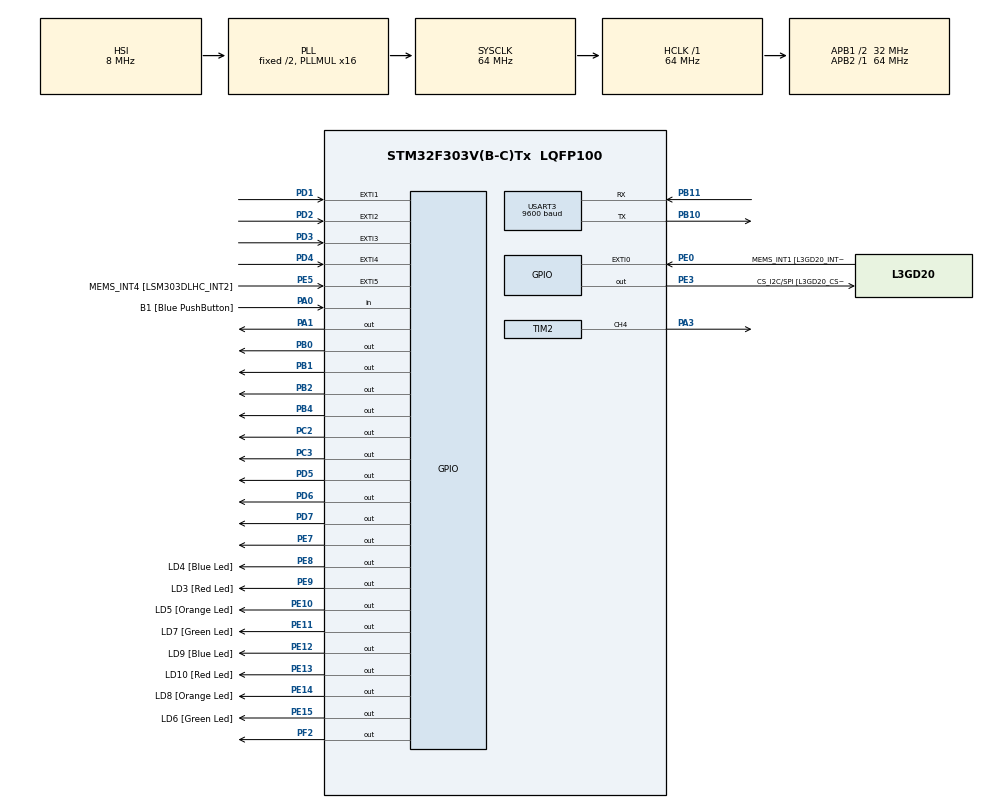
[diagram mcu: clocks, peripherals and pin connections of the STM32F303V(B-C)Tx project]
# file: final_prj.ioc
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Mcu.Family=STM32F3
Mcu.Name=STM32F303V(B-C)Tx
Mcu.Package=LQFP100
NVIC.EXTI1_IRQn=true\:2\:0\:true\:false\:true\:true\:true\:true
NVIC.EXTI2_TSC_IRQn=true\:2\:0\:true\:false\:true\:true\:true\:true
NVIC.EXTI3_IRQn=true\:2\:0\:true\:false\:true\:true\:true\:true
NVIC.EXTI4_IRQn=true\:2\:0\:true\:false\:true\:true\:true\:true
NVIC.PriorityGroup=NVIC_PRIORITYGROUP_2
NVIC.TIM1_BRK_TIM15_IRQn=true\:1\:0\:true\:false\:true\:true\:true\:true
NVIC.TIM1_CC_IRQn=true\:1\:0\:true\:false\:true\:true\:true\:true
NVIC.TIM1_TRG_COM_TIM17_IRQn=true\:1\:0\:true\:false\:true\:true\:true\:true
NVIC.TIM1_UP_TIM16_IRQn=true\:1\:0\:true\:false\:true\:true\:true\:true
NVIC.USART3_IRQn=true\:1\:0\:true\:false\:true\:true\:true\:true
PA0.GPIO_Label=B1 [Blue PushButton]
PA0.GPIO_Mode=GPIO_MODE_INPUT
PA0.GPIO_PuPd=GPIO_NOPULL
PA0.Signal=GPIO_Input
PA1.Signal=GPIO_Output
PA11.GPIO_Label=DM
PA11.Signal=USB_DM
PA12.GPIO_Label=DP
PA12.Signal=USB_DP
PA13.GPIO_Label=SWDIO
PA13.Signal=SYS_JTMS-SWDIO
PA14.GPIO_Label=SWCLK
PA14.Signal=SYS_JTCK-SWCLK
PA3.Signal=S_TIM2_CH4
PA5.GPIO_Label=SPI1_SCK [L3GD20_SCL/SPC]
PA5.GPIO_Mode=GPIO_MODE_AF_PP
PA5.GPIO_PuPd=GPIO_NOPULL
PA5.GPIO_Speed=GPIO_SPEED_FREQ_LOW
PA5.Signal=SPI1_SCK
PA6.GPIO_Label=SPI1_MISO [L3GD20_SA0/SDO]
PA6.GPIO_Mode=GPIO_MODE_AF_PP
PA6.GPIO_PuPd=GPIO_NOPULL
PA6.GPIO_Speed=GPIO_SPEED_FREQ_LOW
PA6.Signal=SPI1_MISO
PA7.GPIO_Label=SPI1_MISO [L3GD20_SDA/SDI/SDO]
PA7.GPIO_Mode=GPIO_MODE_AF_PP
PA7.GPIO_PuPd=GPIO_NOPULL
PA7.GPIO_Speed=GPIO_SPEED_FREQ_LOW
PA7.Signal=SPI1_MOSI
PB0.Signal=GPIO_Output
PB1.Signal=GPIO_Output
PB10.Mode=Asynchronous
PB10.Signal=USART3_TX
PB11.Mode=Asynchronous
PB11.Signal=USART3_RX
PB2.Signal=GPIO_Output
PB3.GPIO_Label=SWO
PB3.Signal=SYS_JTDO-TRACESWO
PB4.Signal=GPIO_Output
PB6.GPIO_FM6=__NULL
PB6.GPIO_Label=I2C1_SCL [LSM303DLHC_SCL]
PB6.GPIO_Mode=GPIO_MODE_AF_OD
PB6.GPIO_PuPd=GPIO_NOPULL
PB6.GPIO_Speed=GPIO_SPEED_FREQ_LOW
PB6.Signal=I2C1_SCL
PB7.GPIO_FM7=__NULL
PB7.GPIO_Label=I2C1_SDA [LSM303DLHC_SDA]
PB7.GPIO_Mode=GPIO_MODE_AF_OD
PB7.GPIO_PuPd=GPIO_NOPULL
PB7.GPIO_Speed=GPIO_SPEED_FREQ_LOW
PB7.Signal=I2C1_SDA
PC14-OSC32_IN.GPIO_Label=OSC32_IN
PC14-OSC32_IN.Signal=RCC_OSC32_IN
PC15-OSC32_OUT.GPIO_Label=OSC32_OUT
PC15-OSC32_OUT.Signal=RCC_OSC32_OUT
PC2.Signal=GPIO_Output
PC3.Signal=GPIO_Output
PD1.GPIO_PuPd=GPIO_PULLDOWN
PD1.Signal=GPXTI1
PD2.GPIO_PuPd=GPIO_PULLDOWN
PD2.Signal=GPXTI2
PD3.GPIO_PuPd=GPIO_PULLDOWN
PD3.Signal=GPXTI3
PD4.GPIO_PuPd=GPIO_PULLDOWN
PD4.Signal=GPXTI4
PD5.Signal=GPIO_Output
PD6.Signal=GPIO_Output
PD7.Signal=GPIO_Output
PE0.GPIO_Label=MEMS_INT1 [L3GD20_INT1]
PE0.GPIO_ModeDefaultEXTI=GPIO_MODE_EVT_RISING
PE0.GPIO_PuPd=GPIO_NOPULL
PE0.Signal=GPXTI0
PE10.GPIO_Label=LD5 [Orange Led]
PE10.GPIO_ModeDefaultOutputPP=GPIO_MODE_OUTPUT_PP
PE10.GPIO_PuPd=GPIO_NOPULL
PE10.GPIO_Speed=GPIO_SPEED_FREQ_LOW
PE10.Signal=GPIO_Output
PE11.GPIO_Label=LD7 [Green Led]
PE11.GPIO_ModeDefaultOutputPP=GPIO_MODE_OUTPUT_PP
PE11.GPIO_PuPd=GPIO_NOPULL
PE11.GPIO_Speed=GPIO_SPEED_FREQ_LOW
PE11.Signal=GPIO_Output
PE12.GPIO_Label=LD9 [Blue Led]
PE12.GPIO_ModeDefaultOutputPP=GPIO_MODE_OUTPUT_PP
PE12.GPIO_PuPd=GPIO_NOPULL
PE12.GPIO_Speed=GPIO_SPEED_FREQ_LOW
PE12.Signal=GPIO_Output
PE13.GPIO_Label=LD10 [Red Led]
PE13.GPIO_ModeDefaultOutputPP=GPIO_MODE_OUTPUT_PP
PE13.GPIO_PuPd=GPIO_NOPULL
PE13.GPIO_Speed=GPIO_SPEED_FREQ_LOW
PE13.Signal=GPIO_Output
PE14.GPIO_Label=LD8 [Orange Led]
PE14.GPIO_ModeDefaultOutputPP=GPIO_MODE_OUTPUT_PP
PE14.GPIO_PuPd=GPIO_NOPULL
PE14.GPIO_Speed=GPIO_SPEED_FREQ_LOW
PE14.Signal=GPIO_Output
PE15.GPIO_Label=LD6 [Green Led]
PE15.GPIO_ModeDefaultOutputPP=GPIO_MODE_OUTPUT_PP
PE15.GPIO_PuPd=GPIO_NOPULL
PE15.GPIO_Speed=GPIO_SPEED_FREQ_LOW
PE15.Signal=GPIO_Output
PE3.GPIO_Label=CS_I2C/SPI [L3GD20_CS_I2C/SPI]
PE3.GPIO_ModeDefaultOutputPP=GPIO_MODE_OUTPUT_PP
PE3.GPIO_PuPd=GPIO_NOPULL
PE3.GPIO_Speed=GPIO_SPEED_FREQ_LOW
PE3.Signal=GPIO_Output
PE5.GPIO_Label=MEMS_INT4 [LSM303DLHC_INT2]
PE5.GPIO_ModeDefaultEXTI=GPIO_MODE_EVT_RISING
PE5.GPIO_PuPd=GPIO_NOPULL
PE5.Signal=GPXTI5
PE7.Signal=GPIO_Output
PE8.GPIO_Label=LD4 [Blue Led]
PE8.GPIO_ModeDefaultOutputPP=GPIO_MODE_OUTPUT_PP
PE8.GPIO_PuPd=GPIO_NOPULL
PE8.GPIO_Speed=GPIO_SPEED_FREQ_LOW
PE8.Signal=GPIO_Output
PE9.GPIO_Label=LD3 [Red Led]
PE9.GPIO_ModeDefaultOutputPP=GPIO_MODE_OUTPUT_PP
PE9.GPIO_PuPd=GPIO_NOPULL
PE9.GPIO_Speed=GPIO_SPEED_FREQ_LOW
PE9.Signal=GPIO_Output
PF0-OSC_IN.GPIO_Label=OSC_IN
PF0-OSC_IN.Signal=RCC_OSC_IN
PF1-OSC_OUT.GPIO_Label=OSC_OUT
PF1-OSC_OUT.Signal=RCC_OSC_OUT
PF2.Signal=GPIO_Output
ProjectManager.HeapSize=0x200
ProjectManager.StackSize=0x400
ProjectManager.TargetToolchain=STM32CubeIDE
RCC.AHBFreq_Value=64000000
RCC.APB1CLKDivider=RCC_HCLK_DIV2
RCC.APB1Freq_Value=32000000
RCC.APB1TimFreq_Value=64000000
RCC.APB2Freq_Value=64000000
RCC.APB2TimFreq_Value=64000000
RCC.CortexFreq_Value=64000000
RCC.HCLKFreq_Value=64000000
RCC.HSE_VALUE=8000000
RCC.HSI_VALUE=8000000
RCC.LSE_VALUE=32768
RCC.PLLMUL=RCC_PLL_MUL16
RCC.SYSCLKFreq_VALUE=64000000
RCC.SYSCLKSourceVirtual=RCC_SYSCLKSOURCE_PLLCLK
RCC.USBFreq_Value=64000000
SH.S_TIM2_CH4.0=TIM2_CH4,PWM Generation4 CH4
TIM1.Period=1000-1
TIM1.Prescaler=64-1
TIM2.Channel-PWM\ Generation4\ CH4=TIM_CHANNEL_4
USART3.BaudRate=9600
USART3.VirtualMode-Asynchronous=VM_ASYNC
VP_RTC_VS_RTC_Activate.Mode=RTC_Enabled
VP_RTC_VS_RTC_Calendar.Mode=RTC_Calendar
VP_TIM1_VS_ClockSourceINT.Mode=Internal
VP_TIM2_VS_ClockSourceINT.Mode=Internal
board=STM32F3DISCOVERY

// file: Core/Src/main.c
/* USER CODE BEGIN Header */
/**
 ******************************************************************************
 * @file           : main.c
 * @brief          : Main program body
 ******************************************************************************
 * @attention
 *
 * Copyright (c) 2024 STMicroelectronics.
 * All rights reserved.
 *
 * This software is licensed under terms that can be found in the LICENSE file
 * in the root directory of this software component.
 * If no LICENSE file comes with this software, it is provided AS-IS.
 *
 ******************************************************************************
 */
/* USER CODE END Header */
#include "main.h"

/* USER CODE BEGIN Includes */
#include "LiquidCrystal.h"
#include "string.h"
#include <stdlib.h>
/* USER CODE END Includes */

/* USER CODE BEGIN PTD */
enum Direction {
	RIGHT, DOWN, LEFT, UP
};

typedef struct {
	int first;
	int second;
} Pair;

typedef struct {
	int health;
	int numBullet;
	int soundEfect;
} DefaultSetting;

typedef unsigned char byte;

typedef struct {
	int col;
	int row;
} CursorLocation;

typedef struct {
	int flag;
	int pageExecuted;
} MenuInfo;

typedef struct {
	char *name;
	int health;
	int numBullet;
	enum Direction direction;
	int col;
	int row;
	int isAlive; //binary
	int score;
} Player;

typedef struct {
	int col;
	int row;
	enum Direction direction;
	int isAlive;
} Bullet;

/* USER CODE END PTD */

/* USER CODE BEGIN PD */
#define WALL_1_COL 1
#define WALL_1_ROW 1
#define WALL_2_COL 18
#define WALL_2_ROW 2
/* USER CODE END PD */

RTC_HandleTypeDef hrtc;

TIM_HandleTypeDef htim1;
TIM_HandleTypeDef htim2;

UART_HandleTypeDef huart3;

/* USER CODE BEGIN PV */
//const byte pointerChar[] = { 0x00, 0x00, 0x06, 0x06, 0x00, 0x00, 0x00, 0x00 };
const byte tankRightChar[] = { 0x18, 0x18, 0x18, 0x1F, 0x1F, 0x18, 0x18, 0x18 };
const byte tankLeftChar[] = { 0x03, 0x03, 0x03, 0x1F, 0x1F, 0x03, 0x03, 0x03 };
const byte tankDownChar[] = { 0x1F, 0x1F, 0x1F, 0x1F, 0x0E, 0x0E, 0x0E, 0x0E };
const byte tankUpChar[] = { 0x0E, 0x0E, 0x0E, 0x0E, 0x1F, 0x1F, 0x1F, 0x1F };

const byte wallChar[] = { 0x1F, 0x1F, 0x1F, 0x1F, 0x1F, 0x1F, 0x1F, 0x1F };
// amirali
const byte healthChar[] = { 0x00, 0x1B, 0x1B, 0x1F, 0x0E, 0x04, 0x00, 0x00 };
const byte barrierChar[] = { 0x1F, 0x0E, 0x0E, 0x0E, 0x0E, 0x0E, 0x0E, 0x1F };
const byte bulletChar[] = { 0x08, 0x1C, 0x08, 0x01, 0x03, 0x06, 0x0C, 0x18 };
const byte questionmarkChar[] =
		{ 0x1F, 0x11, 0x15, 0x1D, 0x1B, 0x1B, 0x1F, 0x1B };

// amirali

DefaultSetting dfSetting = { 3, 5, 0 };

MenuInfo menuOption[] = { { 0, 0 }, { 0, 0 }, { 0, 0 } };

Player player[2];

char teamMembers[2][10] = { "Alireza", "Ali" };

int initPageFlag = 0, menuFlag = 0, gameStartFlag = 0, settingFlag = 0,
		aboutUsFlag = 0, clearLcdFlag = 0;

int initPageExecuted = 0, menuPageExecuted = 0, settingPageExecuted = 0,
		aboutPageExecuted = 0, gameStartPageExecuted = 0;

int dfsettingFlags = 0; /* range [1,2,3] 1: dfHealth 2:dfNumBullet 3:dfSoundEffect*/

int menuPointerLocation = 0, settingPointerLocation = 0;

RTC_TimeTypeDef mytime;
RTC_DateTypeDef mydate;

int num_shooted_bullet = 0;
Bullet bullets[100];

int array[20][4] = { 0 };
int prevarray[20][4] = { 0 };
int shootarray[20][4] = { 0 };
int shootflag = 0;
//0:empty  1:tankRight 2:downTank 3:lefrTank 4: RightRank 5:bullet  6:health  7:barrier  8:wall
//9:questionMark 10:shootedBullet

// Input pull down rising edge trigger interrupt pins:
// Row1 PD1, Row2 PD2, Row3 PD3, Row4 PD4
GPIO_TypeDef *const Row_ports[] = { GPIOD, GPIOD, GPIOD, GPIOD };
const uint16_t Row_pins[] = { GPIO_PIN_1, GPIO_PIN_2, GPIO_PIN_3, GPIO_PIN_4 };
// Output pins: Column1 PD5, Column2 PD6, Column3 PD7, Column4 PB4
GPIO_TypeDef *const Column_ports[] = { GPIOD, GPIOD, GPIOD, GPIOB };
const uint16_t Column_pins[] =
		{ GPIO_PIN_5, GPIO_PIN_6, GPIO_PIN_7, GPIO_PIN_4 };
volatile uint32_t last_gpio_exti;

/* USER CODE END PV */

void SystemClock_Config(void);
static void MX_GPIO_Init(void);
static void MX_TIM1_Init(void);
static void MX_RTC_Init(void);
static void MX_TIM2_Init(void);
static void MX_USART3_UART_Init(void);
/* USER CODE BEGIN PFP */
void begin_page();
void play_song();
void aboutUs_page();
void setting_page();
void menuDisplay();
void setRtcTime();
void customCharsCreate();
void setSettingValues(int val);
void changePointer(int *ptrLoc, int *pageExecuted, char *dir);

void initPlayers();
void initGamePage();
void rotateDirection90(Player *player);
int isDuplicate(Pair arr[], int index, int first, int second, int duringGame);
void generatePairs(Pair arr[], int n, int duringGame);
void generateQM();
void move(Player *player);
int checkMovePossible(int col, int row);
void checkItemExist(Player *player);
void delElement(int num, int *arr, int index);
void copyArray();
void refresh();
void emptyArray();

void shoot(Player *player);
void moveBullets();

int hasBullet(Player *player);

void increaseBullet(Player *player);
void decreaseBullet(Player *player);
void increaseHealth(Player *player);
void decreaseHealth(Player *player);

void finaltime();
/* USER CODE END PFP */

/* USER CODE BEGIN 0 */
uint8_t rx_byte;
int idx = 0;
uint8_t inArray[9];
uint8_t inputHours[3];
uint8_t inputMin[3];
uint8_t inputSec[3];
int hour, minute, second;

uint8_t inputYear[3];
uint8_t inputMonth[3];
uint8_t inputDay[3];
int year, month, day;

int timeFlag = 0;

int uarttime = 1;
int uartdate = 0;

void setScore(int score) {
	char buffer[50];
	sprintf(buffer, "\nScore: %d", score);
	HAL_UART_Transmit(&huart3, (uint8_t*) buffer, strlen(buffer),
			HAL_MAX_DELAY);
}

void parser() {
	if (uarttime) {
		hour = 0;
		minute = 0;
		second = 0;

		for (int i = 0; i < 8; i++) {
			if (i == 1) {
				inputHours[0] = inArray[0];
				inputHours[1] = inArray[1];
				inputHours[2] = '\0';
				hour = atoi(inputHours);
			} else if (i == 3) {
				inputMin[0] = inArray[3];
				inputMin[1] = inArray[4];
				inputMin[2] = '\0';
				minute = atoi(inputMin);
			} else if (i == 6) {
				inputSec[0] = inArray[6];
				inputSec[1] = inArray[7];
				inputSec[2] = '\0';
				second = atoi(inputSec);
			}
		}
	}

	if (uartdate) {
		year = 0;
		month = 0;
		day = 0;

		for (int i = 0; i < 8; i++) {
			if (i == 1) {
				inputYear[0] = inArray[0];
				inputYear[1] = inArray[1];
				inputYear[2] = '\0';
				year = atoi(inputYear);
			} else if (i == 3) {
				inputMonth[0] = inArray[3];
				inputMonth[1] = inArray[4];
				inputMonth[2] = '\0';
				month = atoi(inputMonth);
			} else if (i == 6) {
				inputDay[0] = inArray[6];
				inputDay[1] = inArray[7];
				inputDay[2] = '\0';
				day = atoi(inputDay);
			}
		}
		uartdate = 0;
	}

	timeFlag = 1;

//	memset(inArray, '\0', sizeof(inArray));
}

void HAL_UART_TxCpltCallback(UART_HandleTypeDef *huart) {
	if (huart->Instance == USART3) {
		memset(inArray, '\0', sizeof(inArray));
	}
}

void HAL_UART_RxCpltCallback(UART_HandleTypeDef *huart) {
	if (huart->Instance == USART3) {
		inArray[idx] = rx_byte;
		idx++;
		if (idx == 9) {
			idx = 0;
			parser();
			uarttime = 0;
			uartdate = 1;
		}
		HAL_UART_Receive_IT(&huart3, &rx_byte, 1);
	}
}

void HAL_GPIO_EXTI_Callback(uint16_t GPIO_Pin) {
	if (last_gpio_exti + 300 > HAL_GetTick()) // Simple button debouncing
			{
		return;
	}
	last_gpio_exti = HAL_GetTick();

	int8_t row_number = -1;
	int8_t column_number = -1;

	if (GPIO_Pin == GPIO_PIN_0) {
		// blue_button_pressed = 1;
		// return;
	}

	for (uint8_t row = 0; row < 4; row++) // Loop through Rows
			{
		if (GPIO_Pin == Row_pins[row]) {
			row_number = row;
		}
	}

	HAL_GPIO_WritePin(Column_ports[0], Column_pins[0], 0);
	HAL_GPIO_WritePin(Column_ports[1], Column_pins[1], 0);
	HAL_GPIO_WritePin(Column_ports[2], Column_pins[2], 0);
	HAL_GPIO_WritePin(Column_ports[3], Column_pins[3], 0);

	for (uint8_t col = 0; col < 4; col++) // Loop through Columns
			{
		HAL_GPIO_WritePin(Column_ports[col], Column_pins[col], 1);
		if (HAL_GPIO_ReadPin(Row_ports[row_number], Row_pins[row_number])) {
			column_number = col;
		}
		HAL_GPIO_WritePin(Column_ports[col], Column_pins[col], 0);
	}

	HAL_GPIO_WritePin(Column_ports[0], Column_pins[0], 1);
	HAL_GPIO_WritePin(Column_ports[1], Column_pins[1], 1);
	HAL_GPIO_WritePin(Column_ports[2], Column_pins[2], 1);
	HAL_GPIO_WritePin(Column_ports[3], Column_pins[3], 1);

	if (row_number == -1 || column_number == -1) {
		return; // Reject invalid scan
	}
	//   C0   C1   C2   C3
	// +----+----+----+----+
	// | 1  | 2  | 3  | 4  |  R0
	// +----+----+----+----+
	// | 5  | 6  | 7  | 8  |  R1
	// +----+----+----+----+
	// | 9  | 10 | 11 | 12 |  R2
	// +----+----+----+----+
	// | 13 | 14 | 15 | 16 |  R3
	// +----+----+----+----+
	const uint8_t button_number = row_number * 4 + column_number + 1;
	switch (button_number) {
	case 1:
//		HAL_UART_Transmit(&huart3, "11", 2, HAL_MAX_DELAY);

		if (menuOption[1].flag)
			setSettingValues(1);

		if (menuOption[0].flag)
			rotateDirection90(&player[0]);

		break;
	case 2:
//		HAL_UART_Transmit(&huart3, "12", 2, HAL_MAX_DELAY);

		if (menuOption[1].flag)
			setSettingValues(2);

		break;
	case 3:
//		HAL_UART_Transmit(&huart3, "13", 2, HAL_MAX_DELAY);

		if (menuOption[1].flag)
			setSettingValues(3);

		if (menuOption[0].flag)
			rotateDirection90(&player[1]);

		/* code */
		break;
	case 4:
//		HAL_UART_Transmit(&huart3, "14", 2, HAL_MAX_DELAY);

		/* change needed flags to display menu */
		if (initPageFlag == 1) {
			initPageFlag = 0;
			menuFlag = 1;
			menuPageExecuted = 0;
			clearLcdFlag = 1;
		}

		break;
	case 5:
//		HAL_UART_Transmit(&huart3, "21", 2, HAL_MAX_DELAY);

		if (menuOption[1].flag)
			setSettingValues(4);

		if (menuOption[0].flag)
			move(&player[0]);

		/* code */
		break;
	case 6:
//		HAL_UART_Transmit(&huart3, "22", 2, HAL_MAX_DELAY);

		if (menuOption[1].flag)
			setSettingValues(5);

		/* code */
		break;
	case 7:
//		HAL_UART_Transmit(&huart3, "23", 2, HAL_MAX_DELAY);

		if (menuOption[1].flag)
			setSettingValues(6);

		if (menuOption[0].flag)
			move(&player[1]);

		/* code */
		break;
	case 8:
//		HAL_UART_Transmit(&huart3, "24", 2, HAL_MAX_DELAY);

		/* upward key on menu */
		if (menuFlag) {
			changePointer(&menuPointerLocation, &menuPageExecuted, "up");
		}

		/* upward key on setting */
		if (menuOption[1].flag) {
			changePointer(&settingPointerLocation, &menuOption[1].pageExecuted,
					"up");
		}

		break;
	case 9:
//		HAL_UART_Transmit(&huart3, "31", 2, HAL_MAX_DELAY);

		if (menuOption[1].flag)
			setSettingValues(7);

		if (menuOption[0].flag)
			shoot(&player[0]);
		/* code */
		break;
	case 10:
//		HAL_UART_Transmit(&huart3, "32", 2, HAL_MAX_DELAY);

		if (menuOption[1].flag)
			setSettingValues(8);

		/* code */
		break;
	case 11:
//		HAL_UART_Transmit(&huart3, "33", 2, HAL_MAX_DELAY);

		if (menuOption[1].flag)
			setSettingValues(9);

		if (menuOption[0].flag)
			shoot(&player[1]);
		/* code */
		break;
	case 12:
//		HAL_UART_Transmit(&huart3, "34", 2, HAL_MAX_DELAY);

		/* downward key on menu */
		if (menuFlag)
			changePointer(&menuPointerLocation, &menuPageExecuted, "down");

		/* downward key on setting */
		if (menuOption[1].flag)
			changePointer(&settingPointerLocation, &menuOption[1].pageExecuted,
					"down");

		break;
	case 13:
//		HAL_UART_Transmit(&huart3, "41", 2, HAL_MAX_DELAY);
		/* code */
		break;
	case 14:
//		HAL_UART_Transmit(&huart3, "42", 2, HAL_MAX_DELAY);

		if (menuOption[1].flag)
			setSettingValues(0);

		/* code */
		break;
	case 15:

//		HAL_UART_Transmit(&huart3, "43", 2, HAL_MAX_DELAY);

		/* back key to menu */
		menuOption[0].flag = 0, menuOption[1].flag = 0, menuOption[2].flag = 0;
//		menuOption[0].pageExecuted = 0, menuOption[1].pageExecuted = 0, menuOption[2].pageExecuted= 0;
		menuFlag = 1;
		menuPageExecuted = 0;
		initPageFlag = 0;
		clearLcdFlag = 1;
		break;
	case 16:
//		HAL_UART_Transmit(&huart3, "44", 2, HAL_MAX_DELAY);

		/* enter key for menu */
		if (menuFlag) {
			if (menuPointerLocation >= 0) {
				menuOption[menuPointerLocation].flag = 1;
				if (menuOption[menuPointerLocation].pageExecuted != NULL) {
					menuOption[menuPointerLocation].pageExecuted = 0;
				}
			}
			menuFlag = 0;
			initPageFlag = 0;
			clearLcdFlag = 1;
		}
		break;

	default:
//		HAL_UART_Transmit(&huart3, "b", 1, HAL_MAX_DELAY);

		break;
	}
}

int counter = 0;

void HAL_TIM_PeriodElapsedCallback(TIM_HandleTypeDef *htim) {
	if (htim->Instance == TIM1) {
		int x = (player[1].numBullet * 1000) + (player[1].health * 100)
				+ (player[0].numBullet * 10) + (player[0].health);
		programInit(x);
		programLoop();

		counter++;
		if (counter == 30000 && menuOption[0].flag) {
			generateQM();
			counter = 0;
		}
	}

//    if (htim->Instance == TIM4)
//    {
//    	refresh();
//    }
}

/* USER CODE END 0 */

int main(void) {

	/* MCU Configuration--------------------------------------------------------*/

	/* Reset of all peripherals, Initializes the Flash interface and the Systick. */
	HAL_Init();

	/* USER CODE BEGIN Init */

	LiquidCrystal(GPIOD, GPIO_PIN_8, GPIO_PIN_9, GPIO_PIN_10,
	GPIO_PIN_11, GPIO_PIN_12, GPIO_PIN_13, GPIO_PIN_14);

	begin(20, 4);
	setCursor(0, 0);

	/* USER CODE END Init */

	/* Configure the system clock */
	SystemClock_Config();

	/* Initialize all configured peripherals */
	MX_GPIO_Init();
	MX_TIM1_Init();
	MX_RTC_Init();
	MX_TIM2_Init();
	MX_USART3_UART_Init();
	/* USER CODE BEGIN 2 */

	HAL_GPIO_WritePin(Column_ports[0], Column_pins[0], 1);
	HAL_GPIO_WritePin(Column_ports[1], Column_pins[1], 1);
	HAL_GPIO_WritePin(Column_ports[2], Column_pins[2], 1);
	HAL_GPIO_WritePin(Column_ports[3], Column_pins[3], 1);

	HAL_TIM_Base_Start_IT(&htim1);
//	HAL_TIM_Base_Start_IT(&htim4);
	HAL_UART_Receive_IT(&huart3, &rx_byte, 1);

	clear();

	initPageFlag = 1;
//	menuOption[0].flag = 1;
//	uint32_t stateTime = -1;
	/* USER CODE END 2 */

	/* Infinite loop */
	/* USER CODE BEGIN WHILE */
	while (1) {
		if (timeFlag) {
			setRtcTime();
			timeFlag = 0;
		}
		if (clearLcdFlag == 1) {
			clear();
			clearLcdFlag = 0;
		}

		if (initPageFlag == 1 && initPageExecuted == 0) {
			/* display name of game & play a song */
			begin_page();
			initPageExecuted = 1;

		} else if (initPageFlag == 0) {
			if (menuFlag == 1 && menuPageExecuted == 0) {
				emptyArray();
				/* menu display */
				menuDisplay();
				menuPageExecuted = 1;
			}

			if (menuOption[0].flag == 1 && menuOption[0].pageExecuted == 0) {
				/* clear lcd and start game */
				PWM_Stop();
				initPlayers();
//				int x = (player[1].numBullet * 1000) + (player[1].health * 100)
//						+ (player[0].numBullet * 10) + (player[0].health);
//				programInit(x);

				initGamePage();

				menuOption[0].pageExecuted = 1;

			} else if (menuOption[1].flag == 1
					&& menuOption[1].pageExecuted == 0) {
				/* clear lcd and display setting */
				setting_page();
				menuOption[1].pageExecuted = 1;

			} else if (menuOption[2].flag == 1) {
				/* clear lcd and name of group member and RTC time(live update) */
				aboutUs_page();
			}
		}

//		moveBullets();

		if (menuOption[0].pageExecuted == 1
				&& (player[0].isAlive == 0 || player[1].isAlive == 0)) {
			//finaltime();
			//uart end
			clear();
			if (player[0].isAlive == 0) {
				HAL_UART_Transmit(&huart3, player[1].name,
						strlen(player[1].name), HAL_MAX_DELAY);
				setScore(player[1].score);
			} else {
				HAL_UART_Transmit(&huart3, player[0].name,
						strlen(player[0].name), HAL_MAX_DELAY);
				setScore(player[0].score);
			}
			//random animation
			for(int i=0;i<19;i++){
					setCursor(i, 1);
					write(1);
			}

		} else
			refresh();

		HAL_Delay(600);

		/* USER CODE END WHILE */

	}
}

void SystemClock_Config(void) {
	RCC_OscInitTypeDef RCC_OscInitStruct = { 0 };
	RCC_ClkInitTypeDef RCC_ClkInitStruct = { 0 };
	RCC_PeriphCLKInitTypeDef PeriphClkInit = { 0 };

	/** Initializes the RCC Oscillators according to the specified parameters
	 * in the RCC_OscInitTypeDef structure.
	 */
	RCC_OscInitStruct.OscillatorType = RCC_OSCILLATORTYPE_HSI
			| RCC_OSCILLATORTYPE_LSI;
	RCC_OscInitStruct.HSIState = RCC_HSI_ON;
	RCC_OscInitStruct.HSICalibrationValue = RCC_HSICALIBRATION_DEFAULT;
	RCC_OscInitStruct.LSIState = RCC_LSI_ON;
	RCC_OscInitStruct.PLL.PLLState = RCC_PLL_ON;
	RCC_OscInitStruct.PLL.PLLSource = RCC_PLLSOURCE_HSI;
	RCC_OscInitStruct.PLL.PLLMUL = RCC_PLL_MUL16;
	if (HAL_RCC_OscConfig(&RCC_OscInitStruct) != HAL_OK) {
		Error_Handler();
	}

	/** Initializes the CPU, AHB and APB buses clocks
	 */
	RCC_ClkInitStruct.ClockType = RCC_CLOCKTYPE_HCLK | RCC_CLOCKTYPE_SYSCLK
			| RCC_CLOCKTYPE_PCLK1 | RCC_CLOCKTYPE_PCLK2;
	RCC_ClkInitStruct.SYSCLKSource = RCC_SYSCLKSOURCE_PLLCLK;
	RCC_ClkInitStruct.AHBCLKDivider = RCC_SYSCLK_DIV1;
	RCC_ClkInitStruct.APB1CLKDivider = RCC_HCLK_DIV2;
	RCC_ClkInitStruct.APB2CLKDivider = RCC_HCLK_DIV1;

	if (HAL_RCC_ClockConfig(&RCC_ClkInitStruct, FLASH_LATENCY_2) != HAL_OK) {
		Error_Handler();
	}
	PeriphClkInit.PeriphClockSelection = RCC_PERIPHCLK_USART3
			| RCC_PERIPHCLK_RTC | RCC_PERIPHCLK_TIM1;
	PeriphClkInit.Usart3ClockSelection = RCC_USART3CLKSOURCE_PCLK1;
	PeriphClkInit.RTCClockSelection = RCC_RTCCLKSOURCE_LSI;
	PeriphClkInit.Tim1ClockSelection = RCC_TIM1CLK_HCLK;
	if (HAL_RCCEx_PeriphCLKConfig(&PeriphClkInit) != HAL_OK) {
		Error_Handler();
	}
}

static void MX_RTC_Init(void) {

	RTC_TimeTypeDef sTime = { 0 };
	RTC_DateTypeDef sDate = { 0 };

	/** Initialize RTC Only
	 */
	hrtc.Instance = RTC;
	hrtc.Init.HourFormat = RTC_HOURFORMAT_24;
	hrtc.Init.AsynchPrediv = 127;
	hrtc.Init.SynchPrediv = 255;
	hrtc.Init.OutPut = RTC_OUTPUT_DISABLE;
	hrtc.Init.OutPutPolarity = RTC_OUTPUT_POLARITY_HIGH;
	hrtc.Init.OutPutType = RTC_OUTPUT_TYPE_OPENDRAIN;
	if (HAL_RTC_Init(&hrtc) != HAL_OK) {
		Error_Handler();
	}

	/** Initialize RTC and set the Time and Date
	 */
	sTime.Hours = 0x0;
	sTime.Minutes = 0x0;
	sTime.Seconds = 0x0;
	sTime.DayLightSaving = RTC_DAYLIGHTSAVING_NONE;
	sTime.StoreOperation = RTC_STOREOPERATION_RESET;
	if (HAL_RTC_SetTime(&hrtc, &sTime, RTC_FORMAT_BCD) != HAL_OK) {
		Error_Handler();
	}
	sDate.WeekDay = RTC_WEEKDAY_MONDAY;
	sDate.Month = RTC_MONTH_JANUARY;
	sDate.Date = 0x1;
	sDate.Year = 0x0;

	if (HAL_RTC_SetDate(&hrtc, &sDate, RTC_FORMAT_BCD) != HAL_OK) {
		Error_Handler();
	}

}

static void MX_TIM1_Init(void) {

	TIM_ClockConfigTypeDef sClockSourceConfig = { 0 };
	TIM_MasterConfigTypeDef sMasterConfig = { 0 };

	htim1.Instance = TIM1;
	htim1.Init.Prescaler = 64 - 1;
	htim1.Init.CounterMode = TIM_COUNTERMODE_UP;
	htim1.Init.Period = 1000 - 1;
	htim1.Init.ClockDivision = TIM_CLOCKDIVISION_DIV1;
	htim1.Init.RepetitionCounter = 0;
	htim1.Init.AutoReloadPreload = TIM_AUTORELOAD_PRELOAD_DISABLE;
	if (HAL_TIM_Base_Init(&htim1) != HAL_OK) {
		Error_Handler();
	}
	sClockSourceConfig.ClockSource = TIM_CLOCKSOURCE_INTERNAL;
	if (HAL_TIM_ConfigClockSource(&htim1, &sClockSourceConfig) != HAL_OK) {
		Error_Handler();
	}
	sMasterConfig.MasterOutputTrigger = TIM_TRGO_RESET;
	sMasterConfig.MasterOutputTrigger2 = TIM_TRGO2_RESET;
	sMasterConfig.MasterSlaveMode = TIM_MASTERSLAVEMODE_DISABLE;
	if (HAL_TIMEx_MasterConfigSynchronization(&htim1, &sMasterConfig)
			!= HAL_OK) {
		Error_Handler();
	}

}

static void MX_TIM2_Init(void) {

	TIM_ClockConfigTypeDef sClockSourceConfig = { 0 };
	TIM_MasterConfigTypeDef sMasterConfig = { 0 };
	TIM_OC_InitTypeDef sConfigOC = { 0 };

	htim2.Instance = TIM2;
	htim2.Init.Prescaler = 0;
	htim2.Init.CounterMode = TIM_COUNTERMODE_UP;
	htim2.Init.Period = 4294967295;
	htim2.Init.ClockDivision = TIM_CLOCKDIVISION_DIV1;
	htim2.Init.AutoReloadPreload = TIM_AUTORELOAD_PRELOAD_DISABLE;
	if (HAL_TIM_Base_Init(&htim2) != HAL_OK) {
		Error_Handler();
	}
	sClockSourceConfig.ClockSource = TIM_CLOCKSOURCE_INTERNAL;
	if (HAL_TIM_ConfigClockSource(&htim2, &sClockSourceConfig) != HAL_OK) {
		Error_Handler();
	}
	if (HAL_TIM_PWM_Init(&htim2) != HAL_OK) {
		Error_Handler();
	}
	sMasterConfig.MasterOutputTrigger = TIM_TRGO_RESET;
	sMasterConfig.MasterSlaveMode = TIM_MASTERSLAVEMODE_DISABLE;
	if (HAL_TIMEx_MasterConfigSynchronization(&htim2, &sMasterConfig)
			!= HAL_OK) {
		Error_Handler();
	}
	sConfigOC.OCMode = TIM_OCMODE_PWM1;
	sConfigOC.Pulse = 0;
	sConfigOC.OCPolarity = TIM_OCPOLARITY_HIGH;
	sConfigOC.OCFastMode = TIM_OCFAST_DISABLE;
	if (HAL_TIM_PWM_ConfigChannel(&htim2, &sConfigOC, TIM_CHANNEL_4)
			!= HAL_OK) {
		Error_Handler();
	}
	HAL_TIM_MspPostInit(&htim2);

}

static void MX_USART3_UART_Init(void) {

	huart3.Instance = USART3;
	huart3.Init.BaudRate = 9600;
	huart3.Init.WordLength = UART_WORDLENGTH_8B;
	huart3.Init.StopBits = UART_STOPBITS_1;
	huart3.Init.Parity = UART_PARITY_NONE;
	huart3.Init.Mode = UART_MODE_TX_RX;
	huart3.Init.HwFlowCtl = UART_HWCONTROL_NONE;
	huart3.Init.OverSampling = UART_OVERSAMPLING_16;
	huart3.Init.OneBitSampling = UART_ONE_BIT_SAMPLE_DISABLE;
	huart3.AdvancedInit.AdvFeatureInit = UART_ADVFEATURE_NO_INIT;
	if (HAL_UART_Init(&huart3) != HAL_OK) {
		Error_Handler();
	}

}

static void MX_GPIO_Init(void) {
	GPIO_InitTypeDef GPIO_InitStruct = { 0 };

	/* GPIO Ports Clock Enable */
	__HAL_RCC_GPIOE_CLK_ENABLE();
	__HAL_RCC_GPIOC_CLK_ENABLE();
	__HAL_RCC_GPIOF_CLK_ENABLE();
	__HAL_RCC_GPIOA_CLK_ENABLE();
	__HAL_RCC_GPIOB_CLK_ENABLE();
	__HAL_RCC_GPIOD_CLK_ENABLE();

	/*Configure GPIO pin Output Level */
	HAL_GPIO_WritePin(GPIOE,
			CS_I2C_SPI_Pin | GPIO_PIN_7 | LD4_Pin | LD3_Pin | LD5_Pin | LD7_Pin
					| LD9_Pin | LD10_Pin | LD8_Pin | LD6_Pin, GPIO_PIN_RESET);

	/*Configure GPIO pin Output Level */
	HAL_GPIO_WritePin(GPIOC, GPIO_PIN_2 | GPIO_PIN_3, GPIO_PIN_RESET);

	/*Configure GPIO pin Output Level */
	HAL_GPIO_WritePin(GPIOF, GPIO_PIN_2, GPIO_PIN_RESET);

	/*Configure GPIO pin Output Level */
	HAL_GPIO_WritePin(GPIOA, GPIO_PIN_1, GPIO_PIN_RESET);

	/*Configure GPIO pin Output Level */
	HAL_GPIO_WritePin(GPIOB,
	GPIO_PIN_0 | GPIO_PIN_1 | GPIO_PIN_2 | GPIO_PIN_4, GPIO_PIN_RESET);

	/*Configure GPIO pin Output Level */
	HAL_GPIO_WritePin(GPIOD, GPIO_PIN_5 | GPIO_PIN_6 | GPIO_PIN_7,
			GPIO_PIN_RESET);

	/*Configure GPIO pins : CS_I2C_SPI_Pin PE7 LD4_Pin LD3_Pin
	 LD5_Pin LD7_Pin LD9_Pin LD10_Pin
	 LD8_Pin LD6_Pin */
	GPIO_InitStruct.Pin = CS_I2C_SPI_Pin | GPIO_PIN_7 | LD4_Pin | LD3_Pin
			| LD5_Pin | LD7_Pin | LD9_Pin | LD10_Pin | LD8_Pin | LD6_Pin;
	GPIO_InitStruct.Mode = GPIO_MODE_OUTPUT_PP;
	GPIO_InitStruct.Pull = GPIO_NOPULL;
	GPIO_InitStruct.Speed = GPIO_SPEED_FREQ_LOW;
	HAL_GPIO_Init(GPIOE, &GPIO_InitStruct);

	/*Configure GPIO pins : MEMS_INT4_Pin MEMS_INT1_Pin */
	GPIO_InitStruct.Pin = MEMS_INT4_Pin | MEMS_INT1_Pin;
	GPIO_InitStruct.Mode = GPIO_MODE_EVT_RISING;
	GPIO_InitStruct.Pull = GPIO_NOPULL;
	HAL_GPIO_Init(GPIOE, &GPIO_InitStruct);

	/*Configure GPIO pins : PC2 PC3 */
	GPIO_InitStruct.Pin = GPIO_PIN_2 | GPIO_PIN_3;
	GPIO_InitStruct.Mode = GPIO_MODE_OUTPUT_PP;
	GPIO_InitStruct.Pull = GPIO_NOPULL;
	GPIO_InitStruct.Speed = GPIO_SPEED_FREQ_LOW;
	HAL_GPIO_Init(GPIOC, &GPIO_InitStruct);

	/*Configure GPIO pin : PF2 */
	GPIO_InitStruct.Pin = GPIO_PIN_2;
	GPIO_InitStruct.Mode = GPIO_MODE_OUTPUT_PP;
	GPIO_InitStruct.Pull = GPIO_NOPULL;
	GPIO_InitStruct.Speed = GPIO_SPEED_FREQ_LOW;
	HAL_GPIO_Init(GPIOF, &GPIO_InitStruct);

	/*Configure GPIO pin : B1_Pin */
	GPIO_InitStruct.Pin = B1_Pin;
	GPIO_InitStruct.Mode = GPIO_MODE_INPUT;
	GPIO_InitStruct.Pull = GPIO_NOPULL;
	HAL_GPIO_Init(B1_GPIO_Port, &GPIO_InitStruct);

	/*Configure GPIO pin : PA1 */
	GPIO_InitStruct.Pin = GPIO_PIN_1;
	GPIO_InitStruct.Mode = GPIO_MODE_OUTPUT_PP;
	GPIO_InitStruct.Pull = GPIO_NOPULL;
	GPIO_InitStruct.Speed = GPIO_SPEED_FREQ_LOW;
	HAL_GPIO_Init(GPIOA, &GPIO_InitStruct);

	/*Configure GPIO pins : SPI1_SCK_Pin SPI1_MISO_Pin SPI1_MISOA7_Pin */
	GPIO_InitStruct.Pin = SPI1_SCK_Pin | SPI1_MISO_Pin | SPI1_MISOA7_Pin;
	GPIO_InitStruct.Mode = GPIO_MODE_AF_PP;
	GPIO_InitStruct.Pull = GPIO_NOPULL;
	GPIO_InitStruct.Speed = GPIO_SPEED_FREQ_LOW;
	GPIO_InitStruct.Alternate = GPIO_AF5_SPI1;
	HAL_GPIO_Init(GPIOA, &GPIO_InitStruct);

	/*Configure GPIO pins : PB0 PB1 PB2 PB4 */
	GPIO_InitStruct.Pin = GPIO_PIN_0 | GPIO_PIN_1 | GPIO_PIN_2 | GPIO_PIN_4;
	GPIO_InitStruct.Mode = GPIO_MODE_OUTPUT_PP;
	GPIO_InitStruct.Pull = GPIO_NOPULL;
	GPIO_InitStruct.Speed = GPIO_SPEED_FREQ_LOW;
	HAL_GPIO_Init(GPIOB, &GPIO_InitStruct);

	/*Configure GPIO pins : DM_Pin DP_Pin */
	GPIO_InitStruct.Pin = DM_Pin | DP_Pin;
	GPIO_InitStruct.Mode = GPIO_MODE_AF_PP;
	GPIO_InitStruct.Pull = GPIO_NOPULL;
	GPIO_InitStruct.Speed = GPIO_SPEED_FREQ_HIGH;
	GPIO_InitStruct.Alternate = GPIO_AF14_USB;
	HAL_GPIO_Init(GPIOA, &GPIO_InitStruct);

	/*Configure GPIO pins : PD1 PD2 PD3 PD4 */
	GPIO_InitStruct.Pin = GPIO_PIN_1 | GPIO_PIN_2 | GPIO_PIN_3 | GPIO_PIN_4;
	GPIO_InitStruct.Mode = GPIO_MODE_IT_RISING;
	GPIO_InitStruct.Pull = GPIO_PULLDOWN;
	HAL_GPIO_Init(GPIOD, &GPIO_InitStruct);

	/*Configure GPIO pins : PD5 PD6 PD7 */
	GPIO_InitStruct.Pin = GPIO_PIN_5 | GPIO_PIN_6 | GPIO_PIN_7;
	GPIO_InitStruct.Mode = GPIO_MODE_OUTPUT_PP;
	GPIO_InitStruct.Pull = GPIO_NOPULL;
	GPIO_InitStruct.Speed = GPIO_SPEED_FREQ_LOW;
	HAL_GPIO_Init(GPIOD, &GPIO_InitStruct);

	/*Configure GPIO pins : I2C1_SCL_Pin I2C1_SDA_Pin */
	GPIO_InitStruct.Pin = I2C1_SCL_Pin | I2C1_SDA_Pin;
	GPIO_InitStruct.Mode = GPIO_MODE_AF_OD;
	GPIO_InitStruct.Pull = GPIO_NOPULL;
	GPIO_InitStruct.Speed = GPIO_SPEED_FREQ_LOW;
	GPIO_InitStruct.Alternate = GPIO_AF4_I2C1;
	HAL_GPIO_Init(GPIOB, &GPIO_InitStruct);

	/* EXTI interrupt init*/
	HAL_NVIC_SetPriority(EXTI1_IRQn, 2, 0);
	HAL_NVIC_EnableIRQ(EXTI1_IRQn);

	HAL_NVIC_SetPriority(EXTI2_TSC_IRQn, 2, 0);
	HAL_NVIC_EnableIRQ(EXTI2_TSC_IRQn);

	HAL_NVIC_SetPriority(EXTI3_IRQn, 2, 0);
	HAL_NVIC_EnableIRQ(EXTI3_IRQn);

	HAL_NVIC_SetPriority(EXTI4_IRQn, 2, 0);
	HAL_NVIC_EnableIRQ(EXTI4_IRQn);

}

/* USER CODE BEGIN 4 */

void begin_page() {
	setCursor(0, 0);
	print("Welcome to the Tank Battle");
	play_song();

}

void menuDisplay() {
	setCursor(0, menuPointerLocation);
//	write(0);
	print("-");

	setCursor(1, 0);
	print("start game");
	setCursor(1, 1);
	print("setting");
	setCursor(1, 2);
	print("about us");
}

void play_song() {
	call_change_melody();
	return;
}

void aboutUs_page() {
	setCursor(0, 0);

	for (int i = 0; i < 2; i++) {
		print(teamMembers[i]);
		print(" ");
	}

	char timeStr[20], dateStr[20];

	HAL_RTC_GetTime(&hrtc, &mytime, RTC_FORMAT_BIN);

	setCursor(0, 1);
	sprintf(timeStr, "%2d:%2d:%2d", mytime.Hours, mytime.Minutes,
			mytime.Seconds);
	print(timeStr);

	HAL_RTC_GetDate(&hrtc, &mydate, RTC_FORMAT_BIN);

	setCursor(0, 2);
	sprintf(dateStr, "%d - %d - %d", mydate.Year, mydate.Month, mydate.Date);
	print(dateStr);

}

void setting_page() {
	setCursor(0, settingPointerLocation);
	print("-");

	setCursor(1, 0);

	char temp[21];
	sprintf(temp, "df health: %d", dfSetting.health);
	print(temp);

	setCursor(1, 1);

	strcpy(temp, ""); // Clears the previous content
	sprintf(temp, "df num blt: %d", dfSetting.numBullet);
	print(temp);

	setCursor(1, 2);

	strcpy(temp, ""); // Clears the previous content
	sprintf(temp, "df sounEeffect: %d", dfSetting.soundEfect);
	print(temp);

	setCursor(1, 4);

	print(teamMembers[0]);
	print(" ");
	print(teamMembers[1]);

	free(temp);

}

void setRtcTime() {
	mytime.Hours = (int) hour;
	mytime.Minutes = (int) minute;
	mytime.Seconds = (int) second;

	if (HAL_RTC_SetTime(&hrtc, &mytime, RTC_FORMAT_BIN) != HAL_OK) {
		Error_Handler();
	}

	mydate.Year = year;
	mydate.Month = month;
	mydate.Date = day;

	if (HAL_RTC_SetDate(&hrtc, &mydate, RTC_FORMAT_BIN) != HAL_OK) {
		Error_Handler();
	}
}

void setSettingValues(int val) {
	switch (settingPointerLocation) {
	case 0:
		dfSetting.health = val;
		break;
	case 1:
		dfSetting.numBullet = val;
		break;
	case 2:
		if (val == 0 || val == 1)
			dfSetting.soundEfect = val;
		break;
	default:
		break;
	}
	menuOption[1].pageExecuted = 0;
}

void changePointer(int *ptrLoc, int *pageExecuted, char *dir) {
	if (strcmp(dir, "up") == 0) {
		*ptrLoc = (*ptrLoc + 1) % 3;
	} else if (strcmp(dir, "down") == 0) {
		*ptrLoc = (*ptrLoc - 1 + 3) % 3;
	}
	*pageExecuted = 0;
	clearLcdFlag = 1;
}

void customCharsCreate() {
	createChar(0, tankRightChar);
	createChar(1, tankDownChar);
	createChar(2, tankLeftChar);
	createChar(3, tankUpChar);
	createChar(4, bulletChar);
	createChar(5, healthChar);
	createChar(6, barrierChar);
	createChar(7, questionmarkChar);
}

void initPlayers() {

	player[0] = (Player ) { "Alireza", dfSetting.health, dfSetting.numBullet,
					RIGHT, 0, 2, 1, 0 };
	player[1] = (Player ) { "Ali", dfSetting.health, dfSetting.numBullet, LEFT,
					19, 1, 1, 0 };

	array[0][2] = 1;
	array[19][1] = 3;
}

void initGamePage() {
	array[1][1] = 8;
	array[1][2] = 8;
	array[18][1] = 8;
	array[18][2] = 8;

	customCharsCreate();

	Pair pairs[15];
	generatePairs(pairs, 15, 0);

	//amirali
	uint8_t pointerrow;
	uint8_t pointercolumn;

	for (int i = 0; i < 15; ++i) {
		pointerrow = pairs[i].first;
		pointercolumn = pairs[i].second;

		//0-5 for bullet
		if (i < 5) {
			array[pointercolumn][pointerrow] = 5;
		} //5-8 for health
		else if (i < 8) {
			array[pointercolumn][pointerrow] = 6;
		} // 8-14 for barrier
		else if (i < 14) {
			array[pointercolumn][pointerrow] = 7;
		} // 15 for questionmark
		else {
			array[pointercolumn][pointerrow] = 9;
		}
	}
}

int rflag = 0;
void refresh() {
	for (int i = 0; i < 20; i++) {
		for (int j = 0; j < 4; j++) {
			if (array[i][j] != prevarray[i][j]) {
				int x = array[i][j];
				setCursor(i, j);
				switch (x) {
				case 0:
					print(" ");
					break;
				case 1:
					write(0);
					break;
				case 2:
					write(1);
					break;
				case 3:
					write(2);
					break;
				case 4:
					write(3);
					break;
				case 5:
					write(4);
					break;
				case 6:
					write(5);
					break;
				case 7:
					write(6);
					break;
				case 8:
					print("|");
					break;
				case 9:
					write(7);
					break;
//				case 10:
//					print(".");
//					break;
				default:
					break;
				}
				prevarray[i][j] = array[i][j];
			}
		}
	}
	if (shootflag == 1) {
		for (int k = 0; k < num_shooted_bullet; k++) {
			if (bullets[k].isAlive) {

				int col = bullets[k].col;
				int row = bullets[k].row;

				switch (bullets[k].direction) {
				case RIGHT:
					bullets[k].col++;
					break;
				case DOWN:
					bullets[k].row++;
					break;
				case LEFT:
					bullets[k].col--;
					break;
				case UP:
					bullets[k].row--;
					break;
				default:
					break;
				}

				int f = array[bullets[k].col][bullets[k].row];

				if (f == 5 || f == 6 || f == 9) { // if health / bulletIcon / chance
					do {
						switch (bullets[k].direction) {
						case RIGHT:
							bullets[k].col++;
							break;
						case DOWN:
							bullets[k].row++;
							break;
						case LEFT:
							bullets[k].col--;
							break;
						case UP:
							bullets[k].row--;
							break;
						default:
							break;
						}
						f = array[bullets[k].col][bullets[k].row];
					} while (f == 5 || f == 6 || f == 9);
				} else if (f == 8) { //if wall
					bullets[k].isAlive = 0;
				} else if (f == 7) { //if barrier
					array[bullets[k].col][bullets[k].row] = 0;
					bullets[k].isAlive = 0;
				} else if (bullets[k].col == player[0].col
						&& bullets[k].row == player[0].row) {
					player[1].score++;
					decreaseHealth(&player[0]);
					bullets[k].isAlive = 0;
				} else if (bullets[k].col == player[1].col
						&& bullets[k].row == player[1].row) {
					player[0].score++;
					decreaseHealth(&player[1]);
					bullets[k].isAlive = 0;
				} else if (bullets[k].col < 0 || bullets[k].col >= 20
						|| bullets[k].row < 0 || bullets[k].row >= 4) {
					bullets[k].isAlive = 0;
				}

//				for (int m = 0; m < num_shooted_bullet; m++) {
//					if (bullets[k].col == bullets[m].col
//							&& bullets[k].row == bullets[m].row) {
//						bullets[k].isAlive = 0;
//						bullets[m].isAlive = 0;
//					}
//				}

				if (!((col == player[0].col && row == player[0].row)
						|| (col == player[1].col && row == player[1].row))) {
					setCursor(col, row);
					print(" ");
					HAL_Delay(500);
				}

				if (bullets[k].isAlive) {
					setCursor(bullets[k].col, bullets[k].row);
					print(".");
				} else {
					bullets[k].col = -1;
					bullets[k].row = -1;
				}
			}
		}
//		num_shooted_bullet--;
	}
}

void shoot(Player *player) {
	if (hasBullet(player) == 0) {
		return;
	}
	decreaseBullet(player);
//	playShotSound();

	num_shooted_bullet++;

	for (int i = 0; i < num_shooted_bullet; i++) {
		if (!bullets[i].isAlive) {
			bullets[i].col = player->col;
			bullets[i].row = player->row;
			bullets[i].direction = player->direction;
			bullets[i].isAlive = 1;

			shootflag = 1;
			break;
		}
	}
}

//void processBullet(){
//
//}

void move(Player *player) {
	int moveflag = 0;

	int column = player->col;
	int row = player->row;

	int tankType = 0;

//	const char *currentDirection = player->direction;
	enum Direction currentDirection = player->direction;

	switch (currentDirection) {
	case RIGHT:
		if (column < 19 && checkMovePossible(column + 1, row)) {
			player->col++;
			player->direction = RIGHT;
			tankType = 1;
			moveflag = 1;
		}
		break;
	case LEFT:
		if (column > 0 && checkMovePossible(column - 1, row)) {
			player->col--;
			player->direction = LEFT;
			tankType = 3;
			moveflag = 1;
		}
		break;
	case DOWN:
		if (row < 3 && checkMovePossible(column, row + 1)) {
			player->row++;
			player->direction = DOWN;
			tankType = 2;
			moveflag = 1;
		}
		break;
	case UP:
		if (row > 0 && checkMovePossible(column, row - 1)) {
			player->row--;
			player->direction = UP;
			tankType = 4;
			moveflag = 1;
		}
		break;
	default:
		break;
	}
	if (moveflag) {
		//check if item exist in new location and apply item. (before change type of new loc in array)
		checkItemExist(player);

		array[column][row] = 0;
		array[player->col][player->row] = tankType;
	}

}
int coun = 0;
void finaltime() {

	if (player[0].isAlive == 0) {
		clear();
		setCursor(1, 2);
		coun++;

		if (coun > 15000) {
			write(0);
			coun = 0;
		} else if (coun > 10000) {
			write(1);
		} else if (coun > 5000) {
			write(2);
		} else {
			write(3);
		}
		setCursor(1, 3);
		print(player[1].name);
		setCursor(2, 3);
		print("score:");
		print(" ");
		print(player[1].score);

	} else if (player[1].isAlive == 0) {
		clear();
		setCursor(1, 2);
		coun++;
		if (coun > 15000) {
			write(0);

		} else if (coun > 10000) {
			write(1);
		} else if (coun > 5000) {
			write(2);
		} else {
			write(3);
		}
		setCursor(1, 3);
		print(player[0].name);
		setCursor(2, 3);
		print("score:");
		print(" ");
		print(player[0].score);
	}

}

int hasBullet(Player *player) {
	if (player->numBullet == 0) {
		return 0;
	}
	return 1;
}

void generateQM() {
	Pair pair[1];
//	HAL_UART_Transmit(&huart3, "g", 1, HAL_MAX_DELAY);
	generatePairs(pair, 1, 1);

//	char x[5];
//	sprintf(x, "%d", pair[0].second);
//	HAL_UART_Transmit(&huart3, x, strlen(x), HAL_MAX_DELAY);

	array[pair[0].second][pair[0].first] = 9;
}

void checkItemExist(Player *player) {

	int x = array[player->col][player->row];

	if (x == 5)	//bullet
		increaseBullet(player);
	else if (x == 6)	//health
		increaseHealth(player);

	else if (x == 9) {
		int rand = HAL_GetTick() % 2;
		if (rand == 0) {
			increaseBullet(player);
		} else if (rand == 1) {
			increaseHealth(player);
		}
	}
}

int checkMovePossible(int col, int row) {
	int x = array[col][row];
	if (x == 1 || x == 2 || x == 3 || x == 4) {		// if tank is ahead
		return 0;
	}
	if (x == 7 || x == 8) {						// wall or barrier is ahead
		return 0;
	}
	return 1;
}

const char *directions[] = { "right", "down", "left", "up" };

void rotateDirection90(Player *player) {

	enum Direction currentDirection = player->direction;

	for (int i = 0; i < 4; i++) {
		if (currentDirection == i) {
			// Rotate clockwise 90 degrees
			player->direction = (enum Direction) ((i + 1) % 4);

			int x = 0;
			switch (player->direction) {
			case RIGHT:
				x = 1;
				break;
			case DOWN:
				x = 2;
				break;
			case LEFT:
				x = 3;
				break;
			case UP:
				x = 4;
				break;
			default:
				break;
			}

			array[player->col][player->row] = x;
			break;
		}
	}
//	const char *currentDirection = player->direction;
//
//	for (int i = 0; i < 4; i++) {
//		if (strcmp(currentDirection, directions[i]) == 0) {
//			// Rotate clockwise 90 degrees
//			player->direction = directions[(i + 1) % 4];
//
//			int x = 0;
//			if (strcmp(player->direction, "right") == 0) {
//				// Write the tank character for the new "right" direction
//				x = 1;
//			} else if (strcmp(player->direction, "down") == 0) {
//				// Write the tank character for the new "down" direction
//				x = 2;
//			} else if (strcmp(player->direction, "left") == 0) {
//				// Write the tank character for the new "left" direction
//				x = 3;
//			} else if (strcmp(player->direction, "up") == 0) {
//				// Write the tank character for the new "up" direction
//				x = 4;
//			}
//
//			array[player->col][player->row] = x;
//
//			break;
//		}
//	}
}

int isDuplicate(Pair arr[], int index, int first, int second, int duringGame) {
	if (duringGame) {
		if (array[second][first] != 0) {
//			HAL_UART_Transmit(&huart3, "p", 1, HAL_MAX_DELAY);
			return 1;
		}
	} else if (duringGame == 0)
		for (int i = 0; i < index; ++i) {
			if (arr[i].first == first && arr[i].second == second) {
				return 1;  // Duplicate found
			}
		}
	return 0;  // No duplicate found
}

void generatePairs(Pair arr[], int n, int duringGame) {
	for (int i = 0; i < n; ++i) {
		int first = HAL_GetTick() % 4; // Generates a random number between 0 and 4
		int second = HAL_GetTick() % 16 + 2; // Generates a random number between 2 and 17

		while (isDuplicate(arr, i, first, second, duringGame)) {
			first = HAL_GetTick() % 4;
			second = HAL_GetTick() % 16 + 2;
		}

		arr[i].first = first;
		arr[i].second = second;
	}
//	HAL_UART_Transmit(&huart3, "l", 1, HAL_MAX_DELAY);

}

void copyArray() {
	for (int i = 0; i < 20; i++) {
		for (int j = 0; j < 4; j++) {
			prevarray[i][j] = array[i][j];
		}
	}
}

void emptyArray() {
	for (int i = 0; i < 20; i++) {
		for (int j = 0; j < 4; j++) {
			array[i][j] = 0;
			prevarray[i][j] = 0;
		}
	}
}

void increaseBullet(Player *player) {
	if (player->numBullet < 9) {
		player->numBullet++;
	}
}

void decreaseBullet(Player *player) {
	if (player->numBullet > 0) {
		player->numBullet--;
	}
}

void increaseHealth(Player *player) {
	if (player->health < 9) {
		player->health++;
	}
}

void decreaseHealth(Player *player) {
	if (player->health > 0) {
		player->health--;
//		playExplosionSound();
	}  if (player->health <= 0) {
		player->isAlive = 0;
	}
}
/* USER CODE END 4 */

void Error_Handler(void) {
	__disable_irq();
	while (1) {
	}
}
